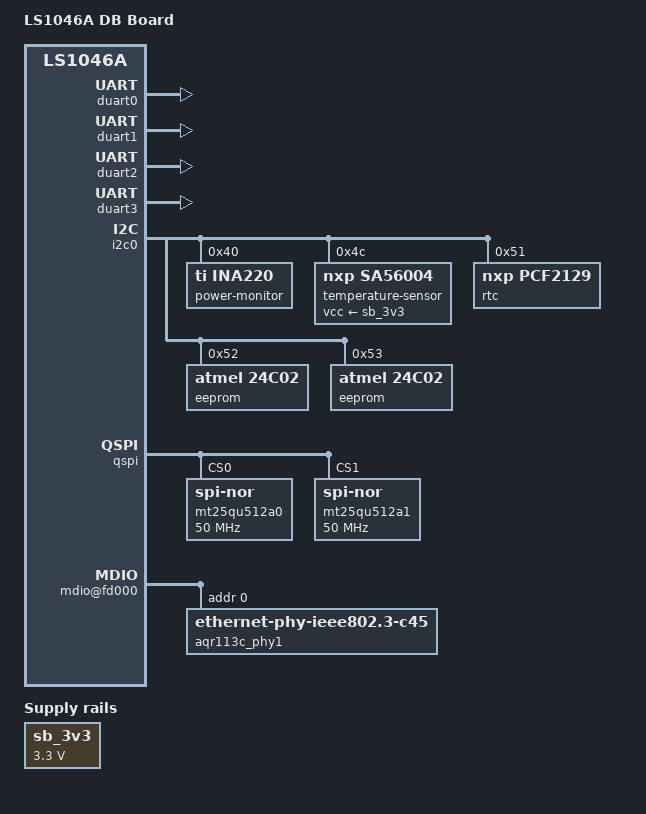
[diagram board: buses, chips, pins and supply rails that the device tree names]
// SPDX-License-Identifier: (GPL-2.0+ OR MIT)
/*
 * Device Tree Include file for Freescale Layerscape LS1046A DB Board.
 *
 * Copyright 2020 NXP
 *
 */

/dts-v1/;

#include "fsl-ls1046a.dtsi"

/ {
	model = "LS1046A DB Board";
	compatible = "fsl,ls1046a-db", "fsl,ls1046a";

	aliases {
		serial0 = &duart0;
		serial1 = &duart1;
		serial2 = &duart2;
		serial3 = &duart3;
	};

	chosen {
		stdout-path = "serial0:115200n8";
	};

	sb_3v3: regulator-sb3v3 {
		compatible = "regulator-fixed";
		regulator-name = "LT8609SEV-3.3V";
		regulator-min-microvolt = <3300000>;
		regulator-max-microvolt = <3300000>;
		regulator-boot-on;
		regulator-always-on;
	};
};

&duart0 {
	status = "okay";
};

&duart1 {
	status = "okay";
};

&duart2 {
	status = "okay";
};

&duart3 {
	status = "okay";
};

&i2c0 {
	status = "okay";

	power-monitor@40 {
		compatible = "ti,ina220";
		reg = <0x40>;
		shunt-resistor = <1000>;
	};

	temperature-sensor@4c {
		compatible = "nxp,sa56004";
		reg = <0x4c>;
		vcc-supply = <&sb_3v3>;
	};

	rtc@51 {
		compatible = "nxp,pcf2129";
		reg = <0x51>;
	};

	eeprom@52 {
		compatible = "atmel,24c02";
		reg = <0x52>;
	};

	eeprom@53 {
		compatible = "atmel,24c02";
		reg = <0x53>;
	};
};

&qspi {
	status = "okay";

	mt25qu512a0: flash@0 {
		compatible = "jedec,spi-nor";
		#address-cells = <1>;
		#size-cells = <1>;
		spi-max-frequency = <50000000>;
		reg = <0>;
		spi-rx-bus-width = <4>;
		spi-tx-bus-width = <4>;
	};

	mt25qu512a1: flash@1 {
		compatible = "jedec,spi-nor";
		#address-cells = <1>;
		#size-cells = <1>;
		spi-max-frequency = <50000000>;
		reg = <1>;
		spi-rx-bus-width = <4>;
		spi-tx-bus-width = <4>;
	};
};

#include "fsl-ls1046-post.dtsi"

&fman0 {

	ethernet@f2000 {
		phy-handle = <&aqr113c_phy1>;
		phy-connection-type = "xfi";
	};

	mdio@fd000 {
		aqr113c_phy1: ethernet-phy@0 {
			compatible = "ethernet-phy-ieee802.3-c45";
			reg = <0x0>;
		};
	};
};
